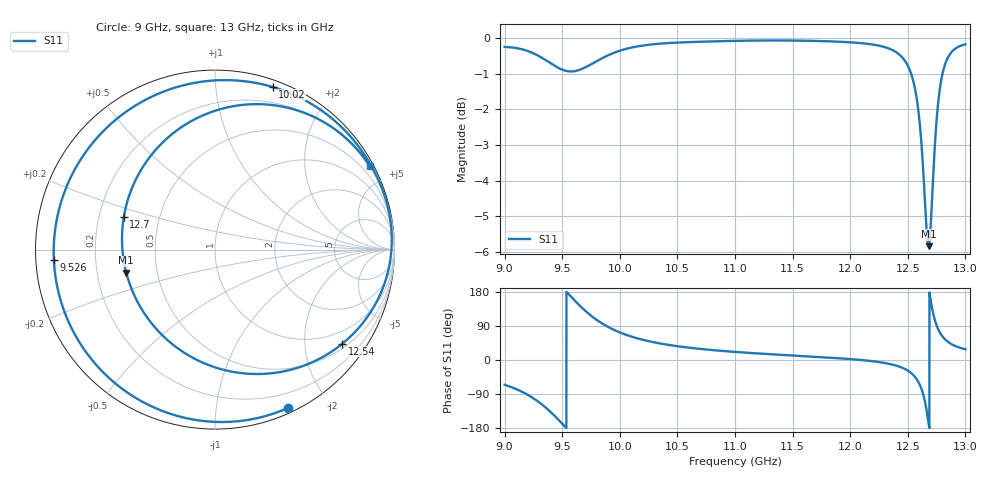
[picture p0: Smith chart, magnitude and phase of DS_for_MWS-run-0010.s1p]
! TOUCHSTONE file generated by CST DESIGN STUDIO
! Date and time: Tue Feb  4 13:14:59 2025
! Project name: C:\Work\MatlabApps\UnitCellOptimizationMatlab\CST\unitcell.cst
! Tree item: Tasks\Sweep1\SPara1\S-Parameters
! Header version: 2024
! Port assignment regex: !\s*Touchstone port\s*([0-9]+)\s*=\s*(CST MWS port|CST DES external port|CST DES block port)\s*(.+)\s* \(\"(.*)\"\)(\s*mode\s*([0-9]+))?.*
! Touchstone port assignment:
! Touchstone port 1 = CST DES external port 1 ("")
# GHz S MA R 50
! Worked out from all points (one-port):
!   4001 points, 9 GHz to 13 GHz, reference 50 ohm
!   lowest |S11| = -5.8 dB at 12.68 GHz (marker M1), VSWR 3.09, Z = 16.4 - j5.7 ohm
!   |S11| at or under -10 dB: nowhere
!   S11 on the Smith chart (normalised r, x): 9 GHz: 0.05, -1.56; 9.526 GHz: 0.05, -0.03; 10.02 GHz: 0.06, +1.41; 12.54 GHz: 0.62, -2.92; 12.7 GHz: 0.31, +0.16; 13 GHz: 0.18, +3.95
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9  0.9711 -65.3
9.141  0.9647 -82.4
9.29  0.9445 -109.5
9.392  0.9229 -135.1
9.5  0.9025 -168.0
9.526  0.8996 -176.5
9.619  0.899 153.6
9.744  0.9171 118.5
9.855  0.938 94.8
10  0.9593 72.8
10.019  0.9615 70.5
10.227  0.9769 51.3
10.5  0.9848 36.4
11  0.9903 21.4
11.5  0.9913 11.9
12  0.9857 2.5
12.313  0.9691 -8.6
12.5  0.9142 -27.9
12.537  0.8824 -36.4
12.584  0.8088 -53.8
12.626  0.6837 -82.8
12.653  0.5741 -115.8
12.68  0.5109 -165.5
12.697  0.5394 160.5
12.732  0.694 108.5
12.769  0.8261 78.0
12.856  0.9434 46.3
13  0.9791 28.3
